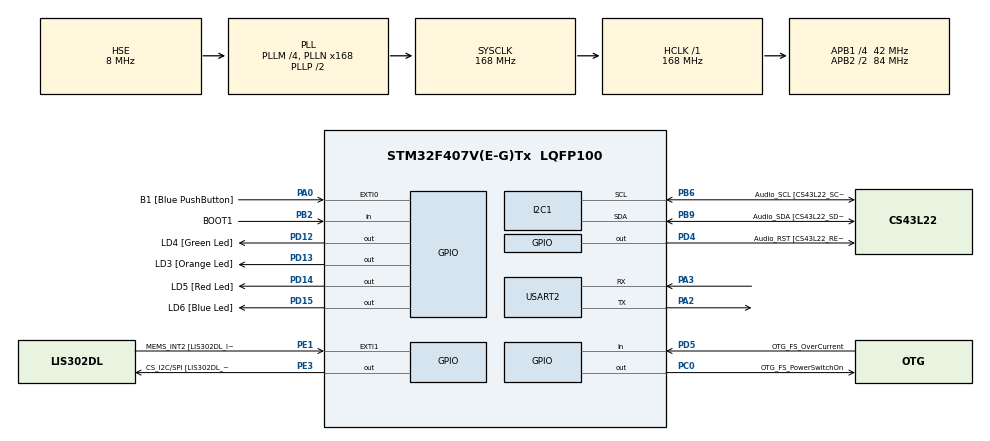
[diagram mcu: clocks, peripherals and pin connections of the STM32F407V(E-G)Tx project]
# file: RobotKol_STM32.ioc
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Dma.Request0=USART2_RX
Dma.USART2_RX.0.Direction=DMA_PERIPH_TO_MEMORY
Dma.USART2_RX.0.FIFOMode=DMA_FIFOMODE_DISABLE
Dma.USART2_RX.0.Instance=DMA1_Stream5
Dma.USART2_RX.0.MemDataAlignment=DMA_MDATAALIGN_BYTE
Dma.USART2_RX.0.MemInc=DMA_MINC_ENABLE
Dma.USART2_RX.0.Mode=DMA_CIRCULAR
Dma.USART2_RX.0.PeriphDataAlignment=DMA_PDATAALIGN_BYTE
Dma.USART2_RX.0.PeriphInc=DMA_PINC_DISABLE
Dma.USART2_RX.0.Priority=DMA_PRIORITY_LOW
I2C1.I2C_Mode=I2C_Fast
Mcu.Family=STM32F4
Mcu.Name=STM32F407V(E-G)Tx
Mcu.Package=LQFP100
NVIC.DMA1_Stream5_IRQn=true\:0\:0\:false\:false\:true\:false\:true\:true
NVIC.PriorityGroup=NVIC_PRIORITYGROUP_0
NVIC.USART2_IRQn=true\:0\:0\:false\:false\:true\:true\:true\:true
PA0-WKUP.GPIO_Label=B1 [Blue PushButton]
PA0-WKUP.Signal=GPXTI0
PA10.GPIO_Label=OTG_FS_ID
PA10.GPIO_Mode=GPIO_MODE_AF_PP
PA10.GPIO_PuPd=GPIO_NOPULL
PA10.GPIO_Speed=GPIO_SPEED_FREQ_LOW
PA10.Signal=USB_OTG_FS_ID
PA11.GPIO_Label=OTG_FS_DM
PA11.GPIO_Mode=GPIO_MODE_AF_PP
PA11.GPIO_PuPd=GPIO_NOPULL
PA11.GPIO_Speed=GPIO_SPEED_FREQ_LOW
PA11.Signal=USB_OTG_FS_DM
PA12.GPIO_Label=OTG_FS_DP
PA12.GPIO_Mode=GPIO_MODE_AF_PP
PA12.GPIO_PuPd=GPIO_NOPULL
PA12.GPIO_Speed=GPIO_SPEED_FREQ_LOW
PA12.Signal=USB_OTG_FS_DP
PA13.GPIO_Label=SWDIO
PA13.Mode=Serial_Wire
PA13.Signal=SYS_JTMS-SWDIO
PA14.GPIO_Label=SWCLK
PA14.Mode=Serial_Wire
PA14.Signal=SYS_JTCK-SWCLK
PA2.Mode=Asynchronous
PA2.Signal=USART2_TX
PA3.Mode=Asynchronous
PA3.Signal=USART2_RX
PA4.GPIO_Label=I2S3_WS [CS43L22_LRCK]
PA4.GPIO_Mode=GPIO_MODE_AF_PP
PA4.GPIO_PuPd=GPIO_NOPULL
PA4.GPIO_Speed=GPIO_SPEED_FREQ_LOW
PA4.Signal=I2S3_WS
PA5.GPIO_Label=SPI1_SCK [LIS302DL_SCL/SPC]
PA5.GPIO_Mode=GPIO_MODE_AF_PP
PA5.GPIO_PuPd=GPIO_NOPULL
PA5.GPIO_Speed=GPIO_SPEED_FREQ_LOW
PA5.Signal=SPI1_SCK
PA6.GPIO_Label=SPI1_MISO [LIS302DL_SDO]
PA6.GPIO_Mode=GPIO_MODE_AF_PP
PA6.GPIO_PuPd=GPIO_NOPULL
PA6.GPIO_Speed=GPIO_SPEED_FREQ_LOW
PA6.Signal=SPI1_MISO
PA7.GPIO_Label=SPI1_MOSI [LIS302DL_SDA/SDI/SDO]
PA7.GPIO_Mode=GPIO_MODE_AF_PP
PA7.GPIO_PuPd=GPIO_NOPULL
PA7.GPIO_Speed=GPIO_SPEED_FREQ_LOW
PA7.Signal=SPI1_MOSI
PA9.GPIO_Label=VBUS_FS
PA9.GPIO_Mode=GPIO_MODE_INPUT
PA9.GPIO_PuPd=GPIO_NOPULL
PA9.Signal=USB_OTG_FS_VBUS
PB10.GPIO_Label=CLK_IN [MP45DT02_CLK]
PB10.GPIO_Mode=GPIO_MODE_AF_PP
PB10.GPIO_PuPd=GPIO_NOPULL
PB10.GPIO_Speed=GPIO_SPEED_FREQ_LOW
PB10.Signal=I2S2_CK
PB2.GPIO_Label=BOOT1
PB2.GPIO_Mode=GPIO_MODE_INPUT
PB2.GPIO_PuPd=GPIO_NOPULL
PB2.Signal=GPIO_Input
PB3.GPIO_Label=SWO
PB3.Signal=SYS_JTDO-SWO
PB6.GPIO_Label=Audio_SCL [CS43L22_SCL]
PB6.GPIO_Mode=GPIO_MODE_AF_OD
PB6.GPIO_PuPd=GPIO_NOPULL
PB6.GPIO_Speed=GPIO_SPEED_FREQ_LOW
PB6.Mode=I2C
PB6.Signal=I2C1_SCL
PB9.GPIO_Label=Audio_SDA [CS43L22_SDA]
PB9.GPIO_Mode=GPIO_MODE_AF_OD
PB9.GPIO_PuPd=GPIO_NOPULL
PB9.GPIO_Speed=GPIO_SPEED_FREQ_LOW
PB9.Mode=I2C
PB9.Signal=I2C1_SDA
PC0.GPIO_Label=OTG_FS_PowerSwitchOn
PC0.GPIO_PuPd=GPIO_NOPULL
PC0.GPIO_Speed=GPIO_SPEED_FREQ_LOW
PC0.PinState=GPIO_PIN_SET
PC0.Signal=GPIO_Output
PC10.GPIO_Label=I2S3_SCK [CS43L22_SCLK]
PC10.GPIO_Mode=GPIO_MODE_AF_PP
PC10.GPIO_PuPd=GPIO_NOPULL
PC10.GPIO_Speed=GPIO_SPEED_FREQ_LOW
PC10.Signal=I2S3_CK
PC12.GPIO_Label=I2S3_SD [CS43L22_SDIN]
PC12.GPIO_Mode=GPIO_MODE_AF_PP
PC12.GPIO_PuPd=GPIO_NOPULL
PC12.GPIO_Speed=GPIO_SPEED_FREQ_LOW
PC12.Signal=I2S3_SD
PC14-OSC32_IN.GPIO_Label=PC14-OSC32_IN
PC14-OSC32_IN.Signal=RCC_OSC32_IN
PC15-OSC32_OUT.GPIO_Label=PC15-OSC32_OUT
PC15-OSC32_OUT.Signal=RCC_OSC32_OUT
PC3.GPIO_Label=PDM_OUT [MP45DT02_DOUT]
PC3.GPIO_Mode=GPIO_MODE_AF_PP
PC3.GPIO_PuPd=GPIO_NOPULL
PC3.GPIO_Speed=GPIO_SPEED_FREQ_LOW
PC3.Signal=I2S2_SD
PC7.GPIO_Label=I2S3_MCK [CS43L22_MCLK]
PC7.GPIO_Mode=GPIO_MODE_AF_PP
PC7.GPIO_PuPd=GPIO_NOPULL
PC7.GPIO_Speed=GPIO_SPEED_FREQ_LOW
PC7.Signal=I2S3_MCK
PD12.GPIO_Label=LD4 [Green Led]
PD12.GPIO_PuPd=GPIO_NOPULL
PD12.GPIO_Speed=GPIO_SPEED_FREQ_LOW
PD12.Signal=GPIO_Output
PD13.GPIO_Label=LD3 [Orange Led]
PD13.GPIO_PuPd=GPIO_NOPULL
PD13.GPIO_Speed=GPIO_SPEED_FREQ_LOW
PD13.Signal=GPIO_Output
PD14.GPIO_Label=LD5 [Red Led]
PD14.GPIO_PuPd=GPIO_NOPULL
PD14.GPIO_Speed=GPIO_SPEED_FREQ_LOW
PD14.Signal=GPIO_Output
PD15.GPIO_Label=LD6 [Blue Led]
PD15.GPIO_PuPd=GPIO_NOPULL
PD15.GPIO_Speed=GPIO_SPEED_FREQ_LOW
PD15.Signal=GPIO_Output
PD4.GPIO_Label=Audio_RST [CS43L22_RESET]
PD4.GPIO_PuPd=GPIO_NOPULL
PD4.GPIO_Speed=GPIO_SPEED_FREQ_LOW
PD4.Signal=GPIO_Output
PD5.GPIO_Label=OTG_FS_OverCurrent
PD5.GPIO_Mode=GPIO_MODE_INPUT
PD5.GPIO_PuPd=GPIO_NOPULL
PD5.Signal=GPIO_Input
PE1.GPIO_Label=MEMS_INT2 [LIS302DL_INT2]
PE1.GPIO_ModeDefaultEXTI=GPIO_MODE_EVT_RISING
PE1.GPIO_PuPd=GPIO_NOPULL
PE1.Signal=GPXTI1
PE3.GPIO_Label=CS_I2C/SPI [LIS302DL_CS_I2C/SPI]
PE3.GPIO_PuPd=GPIO_NOPULL
PE3.GPIO_Speed=GPIO_SPEED_FREQ_LOW
PE3.Signal=GPIO_Output
PH0-OSC_IN.GPIO_Label=PH0-OSC_IN
PH0-OSC_IN.Mode=HSE-External-Oscillator
PH0-OSC_IN.Signal=RCC_OSC_IN
PH1-OSC_OUT.GPIO_Label=PH1-OSC_OUT
PH1-OSC_OUT.Mode=HSE-External-Oscillator
PH1-OSC_OUT.Signal=RCC_OSC_OUT
ProjectManager.HeapSize=0x200
ProjectManager.StackSize=0x400
ProjectManager.TargetToolchain=STM32CubeIDE
RCC.48MHZClocksFreq_Value=48000000
RCC.AHBFreq_Value=168000000
RCC.APB1CLKDivider=RCC_HCLK_DIV4
RCC.APB1Freq_Value=42000000
RCC.APB1TimFreq_Value=84000000
RCC.APB2CLKDivider=RCC_HCLK_DIV2
RCC.APB2Freq_Value=84000000
RCC.APB2TimFreq_Value=168000000
RCC.CortexFreq_Value=168000000
RCC.HCLKFreq_Value=168000000
RCC.HSE_VALUE=8000000
RCC.HSI_VALUE=16000000
RCC.LSE_VALUE=32768
RCC.PLLM=4
RCC.PLLN=168
RCC.PLLQ=7
RCC.PLLSourceVirtual=RCC_PLLSOURCE_HSE
RCC.SYSCLKFreq_VALUE=168000000
RCC.SYSCLKSource=RCC_SYSCLKSOURCE_PLLCLK
RCC.VCOOutputFreq_Value=336000000
USART2.VirtualMode=VM_ASYNC
board=STM32F407G-DISC1

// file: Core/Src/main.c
/* USER CODE BEGIN Header */
/**
  ******************************************************************************
  * @file           : main.c
  * @brief          : Main program body
  ******************************************************************************
  * @attention
  *
  * Copyright (c) 2026 STMicroelectronics.
  * All rights reserved.
  *
  * This software is licensed under terms that can be found in the LICENSE file
  * in the root directory of this software component.
  * If no LICENSE file comes with this software, it is provided AS-IS.
  *
  ******************************************************************************
  */
/* USER CODE END Header */
#include "main.h"

/* USER CODE BEGIN Includes */
#include <stdio.h>
#include <string.h>
#include <stdlib.h>
#include <math.h>
/* USER CODE END Includes */

/* USER CODE BEGIN PD */
#define RX_BUF_SIZE     128   /* DMA'nın yazdığı dairesel tampon */
#define LINE_MAX        48    /* bir komut satırının en fazla uzunluğu */
#define N_SERVO         4
#define TICK_MS         20    /* servo güncelleme periyodu = PWM periyodu */
#define VARSAYILAN_HIZ  60.0f /* derece/saniye, süre verilmezse */
#define MIN_SURE_MS     200
#define MAX_SURE_MS     10000
/* USER CODE END PD */

I2C_HandleTypeDef hi2c1;

UART_HandleTypeDef huart2;
DMA_HandleTypeDef hdma_usart2_rx;

/* USER CODE BEGIN PV */
static uint8_t rx_dma[RX_BUF_SIZE];   /* DMA buraya yazar */
static uint16_t rx_okunan = 0;        /* tamponda en son nereye kadar okuduk */
static volatile uint8_t uart_hata = 0; /* UART hatası oldu, alım yeniden başlatılacak */
static volatile uint32_t uart_hata_sayisi = 0; /* D komutu gösterir */

static char satir[LINE_MAX];          /* birleştirilmekte olan satır */
static uint8_t satir_len = 0;
static uint8_t satir_tasti = 0;

static char komut[LINE_MAX];          /* ana döngünün işleyeceği hazır satır */
static volatile uint8_t komut_hazir = 0;

/* Hareket durumu. Live Expressions'a eklersen canlı izleyebilirsin. */
static float aci_simdi[N_SERVO] = {90, 90, 90, 0};
static float aci_bas[N_SERVO];
static float aci_hedef[N_SERVO];
static uint32_t hareket_bas_ms = 0;
static uint32_t hareket_sure_ms = 0;
static volatile uint8_t hareket_var = 0;
static uint32_t son_tick_ms = 0;

static volatile uint32_t i2c_hata = 0; /* başarısız PCA9685 yazma sayısı (D komutu gösterir) */
/* USER CODE END PV */

void SystemClock_Config(void);
static void MX_GPIO_Init(void);
static void MX_DMA_Init(void);
static void MX_I2C1_Init(void);
static void MX_USART2_UART_Init(void);

/* USER CODE BEGIN 0 */
#define PCA_ADDR (0x40 << 1)

/* Her servonun guvenli aci sinirlari (derece) */
/*                               taban omuz dirsek kiskac */
static const float SERVO_MIN[4] = {  5,   50,   55,    0 };
static const float SERVO_MAX[4] = {145,  145,  145,  145 };

void PCA9685_Write(uint8_t reg, uint8_t val) {
  if (HAL_I2C_Mem_Write(&hi2c1, PCA_ADDR, reg, 1, &val, 1, 10) != HAL_OK) i2c_hata++;
}

void PCA9685_Init(void) {
  PCA9685_Write(0x00, 0x10);
  PCA9685_Write(0xFE, 121);
  PCA9685_Write(0x00, 0x20);
  HAL_Delay(1);
}

void Servo_SetAngle(uint8_t ch, float derece) {
  if (ch > 3) return;                                   /* sadece 0-3 kanallari var */
  if (derece < SERVO_MIN[ch]) derece = SERVO_MIN[ch];   /* alt sinira kirp */
  if (derece > SERVO_MAX[ch]) derece = SERVO_MAX[ch];   /* ust sinira kirp */

  uint16_t us = 500 + derece * 2000.0f / 180.0f;
  uint16_t tick = us * 4096UL / 20000;
  uint8_t d[4] = {0, 0, tick & 0xFF, tick >> 8};
  if (HAL_I2C_Mem_Write(&hi2c1, PCA_ADDR, 0x06 + 4 * ch, 1, d, 4, 10) != HAL_OK) i2c_hata++;
}

/* ---- UART komut protokolü (Pi -> STM32), her satır '\n' ile biter ----
 *   P                        -> PONG
 *   M,taban,omuz,dirsek,kiskac[,ms] -> OK ... DONE
 *   H                        -> OK ... DONE   (90,90,90,0)
 *   S                        -> POS,a0,a1,a2,a3,MOVING|IDLE
 *   X                        -> STOPPED
 *   Hatalar: ERR,BUSY  ERR,RANGE,<kanal>  ERR,FORMAT  ERR,UNKNOWN  ERR,OVERFLOW
 */

/* Pi'ye bir satır gönder ("\n" otomatik eklenir). */
static void Cevap(const char *s)
{
  char b[128];
  int n = snprintf(b, sizeof(b), "%s\n", s);
  if (n >= (int)sizeof(b)) n = sizeof(b) - 1;
  HAL_UART_Transmit(&huart2, (uint8_t *)b, n, 50);
}

/* Gelen bir baytı satıra ekler; '\n' gelince satırı komut olarak hazırlar.
 * Ana döngüden çağrılır (kesmeden değil). */
static void Bayt_Isle(uint8_t c)
{
  if (c == '\r') return;
  if (c == '\n') {
    if (satir_tasti) {
      satir_tasti = 0;
      satir_len = 0;
      strcpy(komut, "!OVERFLOW");
      komut_hazir = 1;
      return;
    }
    if (satir_len == 0) return;           /* boş satırı yok say */
    satir[satir_len] = '\0';
    memcpy(komut, satir, satir_len + 1);
    komut_hazir = 1;
    satir_len = 0;
    return;
  }
  if (satir_len < LINE_MAX - 1) satir[satir_len++] = (char)c;
  else satir_tasti = 1;
}

/* Alımı sıfırdan başlatır: DMA tamponun başından yazar, biz de baştan okuruz. */
static void Uart_Alim_Baslat(void)
{
  HAL_UART_AbortReceive(&huart2);         /* ne durumda olursa olsun alımı temizle */
  if (HAL_UART_Receive_DMA(&huart2, rx_dma, RX_BUF_SIZE) == HAL_OK) {
    rx_okunan = 0;
    satir_len = 0;                        /* yarım kalmış satır çöp olabilir */
    satir_tasti = 0;
    uart_hata = 0;
  }
  /* olmazsa (DMA henüz durmamışsa) ana döngü bir sonraki turda tekrar dener */
}

/* Ana döngüden sürekli çağrılır. DMA'nın tamponda şu an nereye yazdığını
 * doğrudan donanımdan (NDTR) okur, aradaki yeni baytları işler.
 * Bir komut hazır olunca durur; kalan baytlar tamponda bekler, kaybolmaz. */
static void Uart_Oku(void)
{
  /* Hata olduysa ya da alım bir şekilde durduysa temiz başlat. DMA hâlâ
   * durdurulmaktaysa (HAL hata sırasında) bekle, bitince uart_hata gelir. */
  if (uart_hata || (huart2.RxState != HAL_UART_STATE_BUSY_RX &&
                    huart2.hdmarx->State == HAL_DMA_STATE_READY)) {
    Uart_Alim_Baslat();
    return;
  }
  uint16_t yaz = RX_BUF_SIZE - __HAL_DMA_GET_COUNTER(huart2.hdmarx);
  if (yaz >= RX_BUF_SIZE) yaz = 0;
  while (rx_okunan != yaz && !komut_hazir) {
    Bayt_Isle(rx_dma[rx_okunan]);
    rx_okunan = (rx_okunan + 1) % RX_BUF_SIZE;
  }
}

/* Gürültü, çerçeve, taşma vb. UART hatası: HAL DMA alımını durdurur.
 * Burada (kesme içinde) sadece işaret koyarız, yeniden başlatmayı ana döngü yapar. */
void HAL_UART_ErrorCallback(UART_HandleTypeDef *huart)
{
  if (huart->Instance != USART2) return;
  uart_hata = 1;
  uart_hata_sayisi++;
}

/* Yumuşak başla-yumuşak dur eğrisi: 0..1 -> 0..1 (smoothstep). */
static float Yumusat(float s)
{
  if (s <= 0.0f) return 0.0f;
  if (s >= 1.0f) return 1.0f;
  return s * s * (3.0f - 2.0f * s);
}

/* Dört eklemi aynı anda başlatıp aynı anda bitiren hareketi kurar.
 * sure_ms = 0 ise en çok dönecek eklemin açısına göre süre hesaplanır. */
static void Hareket_Baslat(const float hedef[N_SERVO], uint32_t sure_ms)
{
  float en_buyuk = 0.0f;
  for (int i = 0; i < N_SERVO; i++) {
    aci_bas[i] = aci_simdi[i];
    aci_hedef[i] = hedef[i];
    float fark = fabsf(hedef[i] - aci_simdi[i]);
    if (fark > en_buyuk) en_buyuk = fark;
  }
  if (sure_ms == 0) sure_ms = (uint32_t)(en_buyuk / VARSAYILAN_HIZ * 1000.0f);
  if (sure_ms < MIN_SURE_MS) sure_ms = MIN_SURE_MS;
  if (sure_ms > MAX_SURE_MS) sure_ms = MAX_SURE_MS;

  hareket_sure_ms = sure_ms;
  hareket_bas_ms = HAL_GetTick();
  hareket_var = 1;
}

/* Ana döngüden sürekli çağrılır; her 20 ms'de bir servoları günceller. */
static void Hareket_Guncelle(void)
{
  uint32_t simdi = HAL_GetTick();
  if (simdi - son_tick_ms < TICK_MS) return;
  son_tick_ms = simdi;
  if (!hareket_var) return;

  float s = (float)(simdi - hareket_bas_ms) / (float)hareket_sure_ms;
  float k = Yumusat(s);
  for (int i = 0; i < N_SERVO; i++) {
    aci_simdi[i] = aci_bas[i] + (aci_hedef[i] - aci_bas[i]) * k;
    Servo_SetAngle(i, aci_simdi[i]);
  }
  if (s >= 1.0f) {
    hareket_var = 0;
    Cevap("DONE");
  }
}

/* ",90,110,75,30" ya da ",90,110,75,30,800" kısmını çözer.
 * Dönüş: okunan sayı adedi, format bozuksa -1. */
static int Sayilari_Oku(const char *p, long out[], int en_fazla)
{
  int n = 0;
  while (*p) {
    if (*p != ',') return -1;
    p++;
    char *son;
    long v = strtol(p, &son, 10);
    if (son == p) return -1;              /* virgülden sonra sayı yok */
    if (n >= en_fazla) return -1;
    out[n++] = v;
    p = son;
  }
  return n;
}

/* Ana döngüde, hazır bir komut varsa işler. */
static void Komut_Isle(void)
{
  if (!komut_hazir) return;
  char k[LINE_MAX];
  strcpy(k, komut);
  komut_hazir = 0;

  if (strcmp(k, "!OVERFLOW") == 0) { Cevap("ERR,OVERFLOW"); return; }

  switch (k[0]) {
  case 'P':
    Cevap("PONG");
    break;

  case 'S': {
    char b[64];
    snprintf(b, sizeof(b), "POS,%d,%d,%d,%d,%s",
             (int)(aci_simdi[0] + 0.5f), (int)(aci_simdi[1] + 0.5f),
             (int)(aci_simdi[2] + 0.5f), (int)(aci_simdi[3] + 0.5f),
             hareket_var ? "MOVING" : "IDLE");
    Cevap(b);
    break;
  }

  case 'D': {                             /* tanı: PCA9685 cevap veriyor mu, ayarları ne */
    uint8_t mode1 = 0xFF, pre = 0xFF;
    char b[120];
    const char *var = (HAL_I2C_IsDeviceReady(&hi2c1, PCA_ADDR, 2, 10) == HAL_OK) ? "OK" : "YOK";
    HAL_I2C_Mem_Read(&hi2c1, PCA_ADDR, 0x00, 1, &mode1, 1, 10);
    HAL_I2C_Mem_Read(&hi2c1, PCA_ADDR, 0xFE, 1, &pre, 1, 10);
    int n = snprintf(b, sizeof(b), "DIAG,PCA=%s,MODE1=0x%02X,PRE=%u,I2CERR=%lu,UARTERR=%lu,BUL=",
                     var, mode1, pre, (unsigned long)i2c_hata,
                     (unsigned long)uart_hata_sayisi);
    /* I2C taraması: cevap veren bütün adresler (en fazla 8 tane yazılır) */
    int bulunan = 0;
    for (uint8_t a = 1; a < 128; a++) {
      if (HAL_I2C_IsDeviceReady(&hi2c1, a << 1, 1, 2) == HAL_OK && bulunan < 8) {
        n += snprintf(b + n, sizeof(b) - n, "%s%02X", bulunan ? " " : "", a);
        bulunan++;
      }
    }
    if (bulunan == 0) snprintf(b + n, sizeof(b) - n, "HIC");
    Cevap(b);
    break;
  }

  case 'X':
    hareket_var = 0;                      /* olduğu yerde kalır */
    Cevap("STOPPED");
    break;

  case 'H': {
    if (hareket_var) { Cevap("ERR,BUSY"); break; }
    const float ev[N_SERVO] = {90, 90, 90, 0};
    Cevap("OK");
    Hareket_Baslat(ev, 0);
    break;
  }

  case 'M': {
    if (hareket_var) { Cevap("ERR,BUSY"); break; }
    long v[5];
    int n = Sayilari_Oku(&k[1], v, 5);
    if (n != 4 && n != 5) { Cevap("ERR,FORMAT"); break; }

    float hedef[N_SERVO];
    for (int i = 0; i < N_SERVO; i++) {
      /* Sınır dışı açıyı sessizce kırpmak yerine reddediyoruz */
      if (v[i] < SERVO_MIN[i] || v[i] > SERVO_MAX[i]) {
        char b[24];
        snprintf(b, sizeof(b), "ERR,RANGE,%d", i);
        Cevap(b);
        return;
      }
      hedef[i] = (float)v[i];
    }
    uint32_t sure = (n == 5 && v[4] > 0) ? (uint32_t)v[4] : 0;
    Cevap("OK");
    Hareket_Baslat(hedef, sure);
    break;
  }

  default:
    Cevap("ERR,UNKNOWN");
    break;
  }
}
/* USER CODE END 0 */

int main(void)
{

  /* MCU Configuration--------------------------------------------------------*/

  /* Reset of all peripherals, Initializes the Flash interface and the Systick. */
  HAL_Init();

  /* Configure the system clock */
  SystemClock_Config();

  /* Initialize all configured peripherals */
  MX_GPIO_Init();
  MX_DMA_Init();
  MX_I2C1_Init();
  MX_USART2_UART_Init();
  /* USER CODE BEGIN 2 */
  HAL_Delay(50);                          /* PCA9685 beslemesi otursun (eski I2C taraması bu
                                             beklemeyi farkında olmadan sağlıyordu) */
  PCA9685_Init();
  for (int i = 0; i < N_SERVO; i++) {     /* açılışta bilinen konuma git */
    Servo_SetAngle(i, aci_simdi[i]);
    HAL_Delay(200);                       /* hepsi birden akım çekmesin */
  }
  Uart_Alim_Baslat();
  Cevap("READY");
  /* USER CODE END 2 */

  /* Infinite loop */
  while (1)
  {

    /* USER CODE BEGIN 3 */
    Uart_Oku();
    Komut_Isle();
    Hareket_Guncelle();
  }
  /* USER CODE END 3 */
}

void SystemClock_Config(void)
{
  RCC_OscInitTypeDef RCC_OscInitStruct = {0};
  RCC_ClkInitTypeDef RCC_ClkInitStruct = {0};

  /** Configure the main internal regulator output voltage
  */
  __HAL_RCC_PWR_CLK_ENABLE();
  __HAL_PWR_VOLTAGESCALING_CONFIG(PWR_REGULATOR_VOLTAGE_SCALE1);

  /** Initializes the RCC Oscillators according to the specified parameters
  * in the RCC_OscInitTypeDef structure.
  */
  RCC_OscInitStruct.OscillatorType = RCC_OSCILLATORTYPE_HSE;
  RCC_OscInitStruct.HSEState = RCC_HSE_ON;
  RCC_OscInitStruct.PLL.PLLState = RCC_PLL_ON;
  RCC_OscInitStruct.PLL.PLLSource = RCC_PLLSOURCE_HSE;
  RCC_OscInitStruct.PLL.PLLM = 4;
  RCC_OscInitStruct.PLL.PLLN = 168;
  RCC_OscInitStruct.PLL.PLLP = RCC_PLLP_DIV2;
  RCC_OscInitStruct.PLL.PLLQ = 7;
  if (HAL_RCC_OscConfig(&RCC_OscInitStruct) != HAL_OK)
  {
    Error_Handler();
  }

  /** Initializes the CPU, AHB and APB buses clocks
  */
  RCC_ClkInitStruct.ClockType = RCC_CLOCKTYPE_HCLK|RCC_CLOCKTYPE_SYSCLK
                              |RCC_CLOCKTYPE_PCLK1|RCC_CLOCKTYPE_PCLK2;
  RCC_ClkInitStruct.SYSCLKSource = RCC_SYSCLKSOURCE_PLLCLK;
  RCC_ClkInitStruct.AHBCLKDivider = RCC_SYSCLK_DIV1;
  RCC_ClkInitStruct.APB1CLKDivider = RCC_HCLK_DIV4;
  RCC_ClkInitStruct.APB2CLKDivider = RCC_HCLK_DIV2;

  if (HAL_RCC_ClockConfig(&RCC_ClkInitStruct, FLASH_LATENCY_5) != HAL_OK)
  {
    Error_Handler();
  }
}

static void MX_I2C1_Init(void)
{

  hi2c1.Instance = I2C1;
  hi2c1.Init.ClockSpeed = 400000;
  hi2c1.Init.DutyCycle = I2C_DUTYCYCLE_2;
  hi2c1.Init.OwnAddress1 = 0;
  hi2c1.Init.AddressingMode = I2C_ADDRESSINGMODE_7BIT;
  hi2c1.Init.DualAddressMode = I2C_DUALADDRESS_DISABLE;
  hi2c1.Init.OwnAddress2 = 0;
  hi2c1.Init.GeneralCallMode = I2C_GENERALCALL_DISABLE;
  hi2c1.Init.NoStretchMode = I2C_NOSTRETCH_DISABLE;
  if (HAL_I2C_Init(&hi2c1) != HAL_OK)
  {
    Error_Handler();
  }

}

static void MX_USART2_UART_Init(void)
{

  huart2.Instance = USART2;
  huart2.Init.BaudRate = 115200;
  huart2.Init.WordLength = UART_WORDLENGTH_8B;
  huart2.Init.StopBits = UART_STOPBITS_1;
  huart2.Init.Parity = UART_PARITY_NONE;
  huart2.Init.Mode = UART_MODE_TX_RX;
  huart2.Init.HwFlowCtl = UART_HWCONTROL_NONE;
  huart2.Init.OverSampling = UART_OVERSAMPLING_16;
  if (HAL_UART_Init(&huart2) != HAL_OK)
  {
    Error_Handler();
  }

}

static void MX_DMA_Init(void)
{

  /* DMA controller clock enable */
  __HAL_RCC_DMA1_CLK_ENABLE();

  /* DMA interrupt init */
  /* DMA1_Stream5_IRQn interrupt configuration */
  HAL_NVIC_SetPriority(DMA1_Stream5_IRQn, 0, 0);
  HAL_NVIC_EnableIRQ(DMA1_Stream5_IRQn);

}

static void MX_GPIO_Init(void)
{
  GPIO_InitTypeDef GPIO_InitStruct = {0};

  /* GPIO Ports Clock Enable */
  __HAL_RCC_GPIOE_CLK_ENABLE();
  __HAL_RCC_GPIOC_CLK_ENABLE();
  __HAL_RCC_GPIOH_CLK_ENABLE();
  __HAL_RCC_GPIOA_CLK_ENABLE();
  __HAL_RCC_GPIOB_CLK_ENABLE();
  __HAL_RCC_GPIOD_CLK_ENABLE();

  /*Configure GPIO pin Output Level */
  HAL_GPIO_WritePin(CS_I2C_SPI_GPIO_Port, CS_I2C_SPI_Pin, GPIO_PIN_RESET);

  /*Configure GPIO pin Output Level */
  HAL_GPIO_WritePin(OTG_FS_PowerSwitchOn_GPIO_Port, OTG_FS_PowerSwitchOn_Pin, GPIO_PIN_SET);

  /*Configure GPIO pin Output Level */
  HAL_GPIO_WritePin(GPIOD, LD4_Pin|LD3_Pin|LD5_Pin|LD6_Pin
                          |Audio_RST_Pin, GPIO_PIN_RESET);

  /*Configure GPIO pin : CS_I2C_SPI_Pin */
  GPIO_InitStruct.Pin = CS_I2C_SPI_Pin;
  GPIO_InitStruct.Mode = GPIO_MODE_OUTPUT_PP;
  GPIO_InitStruct.Pull = GPIO_NOPULL;
  GPIO_InitStruct.Speed = GPIO_SPEED_FREQ_LOW;
  HAL_GPIO_Init(CS_I2C_SPI_GPIO_Port, &GPIO_InitStruct);

  /*Configure GPIO pin : OTG_FS_PowerSwitchOn_Pin */
  GPIO_InitStruct.Pin = OTG_FS_PowerSwitchOn_Pin;
  GPIO_InitStruct.Mode = GPIO_MODE_OUTPUT_PP;
  GPIO_InitStruct.Pull = GPIO_NOPULL;
  GPIO_InitStruct.Speed = GPIO_SPEED_FREQ_LOW;
  HAL_GPIO_Init(OTG_FS_PowerSwitchOn_GPIO_Port, &GPIO_InitStruct);

  /*Configure GPIO pin : PDM_OUT_Pin */
  GPIO_InitStruct.Pin = PDM_OUT_Pin;
  GPIO_InitStruct.Mode = GPIO_MODE_AF_PP;
  GPIO_InitStruct.Pull = GPIO_NOPULL;
  GPIO_InitStruct.Speed = GPIO_SPEED_FREQ_LOW;
  GPIO_InitStruct.Alternate = GPIO_AF5_SPI2;
  HAL_GPIO_Init(PDM_OUT_GPIO_Port, &GPIO_InitStruct);

  /*Configure GPIO pin : B1_Pin */
  GPIO_InitStruct.Pin = B1_Pin;
  GPIO_InitStruct.Mode = GPIO_MODE_IT_RISING;
  GPIO_InitStruct.Pull = GPIO_NOPULL;
  HAL_GPIO_Init(B1_GPIO_Port, &GPIO_InitStruct);

  /*Configure GPIO pin : I2S3_WS_Pin */
  GPIO_InitStruct.Pin = I2S3_WS_Pin;
  GPIO_InitStruct.Mode = GPIO_MODE_AF_PP;
  GPIO_InitStruct.Pull = GPIO_NOPULL;
  GPIO_InitStruct.Speed = GPIO_SPEED_FREQ_LOW;
  GPIO_InitStruct.Alternate = GPIO_AF6_SPI3;
  HAL_GPIO_Init(I2S3_WS_GPIO_Port, &GPIO_InitStruct);

  /*Configure GPIO pins : SPI1_SCK_Pin SPI1_MISO_Pin SPI1_MOSI_Pin */
  GPIO_InitStruct.Pin = SPI1_SCK_Pin|SPI1_MISO_Pin|SPI1_MOSI_Pin;
  GPIO_InitStruct.Mode = GPIO_MODE_AF_PP;
  GPIO_InitStruct.Pull = GPIO_NOPULL;
  GPIO_InitStruct.Speed = GPIO_SPEED_FREQ_LOW;
  GPIO_InitStruct.Alternate = GPIO_AF5_SPI1;
  HAL_GPIO_Init(GPIOA, &GPIO_InitStruct);

  /*Configure GPIO pin : BOOT1_Pin */
  GPIO_InitStruct.Pin = BOOT1_Pin;
  GPIO_InitStruct.Mode = GPIO_MODE_INPUT;
  GPIO_InitStruct.Pull = GPIO_NOPULL;
  HAL_GPIO_Init(BOOT1_GPIO_Port, &GPIO_InitStruct);

  /*Configure GPIO pin : CLK_IN_Pin */
  GPIO_InitStruct.Pin = CLK_IN_Pin;
  GPIO_InitStruct.Mode = GPIO_MODE_AF_PP;
  GPIO_InitStruct.Pull = GPIO_NOPULL;
  GPIO_InitStruct.Speed = GPIO_SPEED_FREQ_LOW;
  GPIO_InitStruct.Alternate = GPIO_AF5_SPI2;
  HAL_GPIO_Init(CLK_IN_GPIO_Port, &GPIO_InitStruct);

  /*Configure GPIO pins : LD4_Pin LD3_Pin LD5_Pin LD6_Pin
                           Audio_RST_Pin */
  GPIO_InitStruct.Pin = LD4_Pin|LD3_Pin|LD5_Pin|LD6_Pin
                          |Audio_RST_Pin;
  GPIO_InitStruct.Mode = GPIO_MODE_OUTPUT_PP;
  GPIO_InitStruct.Pull = GPIO_NOPULL;
  GPIO_InitStruct.Speed = GPIO_SPEED_FREQ_LOW;
  HAL_GPIO_Init(GPIOD, &GPIO_InitStruct);

  /*Configure GPIO pins : I2S3_MCK_Pin I2S3_SCK_Pin I2S3_SD_Pin */
  GPIO_InitStruct.Pin = I2S3_MCK_Pin|I2S3_SCK_Pin|I2S3_SD_Pin;
  GPIO_InitStruct.Mode = GPIO_MODE_AF_PP;
  GPIO_InitStruct.Pull = GPIO_NOPULL;
  GPIO_InitStruct.Speed = GPIO_SPEED_FREQ_LOW;
  GPIO_InitStruct.Alternate = GPIO_AF6_SPI3;
  HAL_GPIO_Init(GPIOC, &GPIO_InitStruct);

  /*Configure GPIO pin : VBUS_FS_Pin */
  GPIO_InitStruct.Pin = VBUS_FS_Pin;
  GPIO_InitStruct.Mode = GPIO_MODE_INPUT;
  GPIO_InitStruct.Pull = GPIO_NOPULL;
  HAL_GPIO_Init(VBUS_FS_GPIO_Port, &GPIO_InitStruct);

  /*Configure GPIO pins : OTG_FS_ID_Pin OTG_FS_DM_Pin OTG_FS_DP_Pin */
  GPIO_InitStruct.Pin = OTG_FS_ID_Pin|OTG_FS_DM_Pin|OTG_FS_DP_Pin;
  GPIO_InitStruct.Mode = GPIO_MODE_AF_PP;
  GPIO_InitStruct.Pull = GPIO_NOPULL;
  GPIO_InitStruct.Speed = GPIO_SPEED_FREQ_LOW;
  GPIO_InitStruct.Alternate = GPIO_AF10_OTG_FS;
  HAL_GPIO_Init(GPIOA, &GPIO_InitStruct);

  /*Configure GPIO pin : OTG_FS_OverCurrent_Pin */
  GPIO_InitStruct.Pin = OTG_FS_OverCurrent_Pin;
  GPIO_InitStruct.Mode = GPIO_MODE_INPUT;
  GPIO_InitStruct.Pull = GPIO_NOPULL;
  HAL_GPIO_Init(OTG_FS_OverCurrent_GPIO_Port, &GPIO_InitStruct);

  /*Configure GPIO pin : MEMS_INT2_Pin */
  GPIO_InitStruct.Pin = MEMS_INT2_Pin;
  GPIO_InitStruct.Mode = GPIO_MODE_EVT_RISING;
  GPIO_InitStruct.Pull = GPIO_NOPULL;
  HAL_GPIO_Init(MEMS_INT2_GPIO_Port, &GPIO_InitStruct);

}

void Error_Handler(void)
{
  __disable_irq();
  while (1)
  {
  }
}
